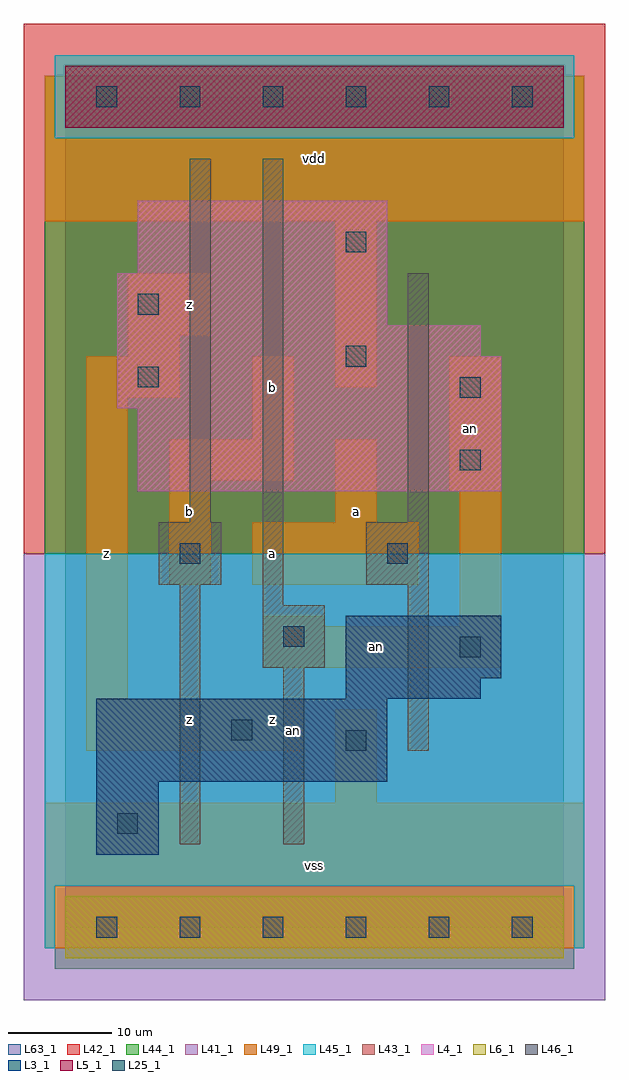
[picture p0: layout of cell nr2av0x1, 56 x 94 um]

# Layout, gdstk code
import gdstk
lib = gdstk.Library(unit=1e-6, precision=1e-09)
def R(c, l, rs):  # rectangles x0, y0, x1, y1
    for r in rs: c.add(gdstk.rectangle(r[:2], r[2:], *l))
def A(c, l, x, y, w, h, nx, ny, dx, dy):  # array of equal rectangles
    R(c, l, [(x+i*dx, y+j*dy, x+i*dx+w, y+j*dy+h) for i in range(nx) for j in range(ny)])
L3_1 = (3, 1)
L4_1 = (4, 1)
L5_1 = (5, 1)
L6_1 = (6, 1)
L25_1 = (25, 1)
L41_1 = (41, 1)
L42_1 = (42, 1)
L43_1 = (43, 1)
L44_1 = (44, 1)
L45_1 = (45, 1)
L46_1 = (46, 1)
L49_1 = (49, 1)
L63_1 = (63, 1)

nr2av0x1 = lib.new_cell('nr2av0x1')
R(nr2av0x1, L3_1, [(3,7,9,14), (3,14,31,22), (27,22,40,24), (27,24,42,30)])
R(nr2av0x1, L4_1, [(7,42,42,50), (5,50,42,55), (5,55,40,58), (5,58,31,63), (7,63,31,70)])
R(nr2av0x1, L5_1, [(0,77,48,83)])
R(nr2av0x1, L6_1, [(0,-3,48,3), (0,-3,48,3)])
A(nr2av0x1, L25_1, 3, -1, 2, 2, 6, 2, 8, 80)
R(nr2av0x1, L25_1, [(5,9,7,11), (27,17,29,19), (16,18,18,20), (38,26,40,28), (21,27,23,29), (11,35,13,37), (31,35,33,37), (38,44,40,46), (38,51,40,53), (7,52,9,54), (27,54,29,56), (7,59,9,61), (27,65,29,67)])
R(nr2av0x1, L41_1, [(-4,-7,52,36)])
R(nr2av0x1, L42_1, [(-4,36,52,87)])
R(nr2av0x1, L43_1, [(0,-3,48,3), (3,7,9,14), (3,14,31,22), (27,22,40,24), (27,24,42,30), (7,42,42,50), (5,50,42,55), (5,55,40,58), (5,58,31,63), (7,63,31,70), (0,77,48,83)])
R(nr2av0x1, L44_1, [(-1,-4,49,4), (-2,36,50,76), (-2,76,-1,82), (49,76,50,82)])
R(nr2av0x1, L45_1, [(-2,-2,-1,4), (49,-2,50,4), (-2,4,50,36), (-1,76,49,84)])
R(nr2av0x1, L46_1, [(11,8,13,33), (21,8,23,25), (33,17,35,33), (19,25,25,31), (19,31,21,74), (9,33,15,39), (29,33,35,39), (12,39,14,74), (33,39,35,63)])
R(nr2av0x1, L49_1, [(-2,-2,50,12), (26,12,30,21), (2,17,23,22), (2,22,6,51), (19,25,42,29), (19,29,25,30), (38,29,42,42), (10,33,14,43), (18,33,34,39), (26,39,30,47), (37,42,42,55), (10,43,22,47), (18,47,22,55), (2,51,11,55), (26,52,30,68), (6,55,11,57), (6,57,14,63), (-2,68,50,82)])
R(nr2av0x1, L63_1, [(0,0,48,80)])
nr2av0x1.add(gdstk.Label('an', (22,19), layer=46, texttype=1))
nr2av0x1.add(gdstk.Label('z', (4,36), layer=49, texttype=1))
nr2av0x1.add(gdstk.Label('z', (20,20), layer=49, texttype=1))
nr2av0x1.add(gdstk.Label('z', (12,20), layer=49, texttype=1))
nr2av0x1.add(gdstk.Label('a', (20,36), layer=49, texttype=1))
nr2av0x1.add(gdstk.Label('b', (12,40), layer=49, texttype=1))
nr2av0x1.add(gdstk.Label('b', (20,52), layer=49, texttype=1))
nr2av0x1.add(gdstk.Label('z', (12,60), layer=49, texttype=1))
nr2av0x1.add(gdstk.Label('vss', (24,6), layer=49, texttype=1))
nr2av0x1.add(gdstk.Label('a', (28,40), layer=49, texttype=1))
nr2av0x1.add(gdstk.Label('vdd', (24,74), layer=49, texttype=1))
nr2av0x1.add(gdstk.Label('an', (30,27), layer=49, texttype=1))
nr2av0x1.add(gdstk.Label('an', (39,48), layer=49, texttype=1))

lib.write_gds('nr2av0x1.gds')
